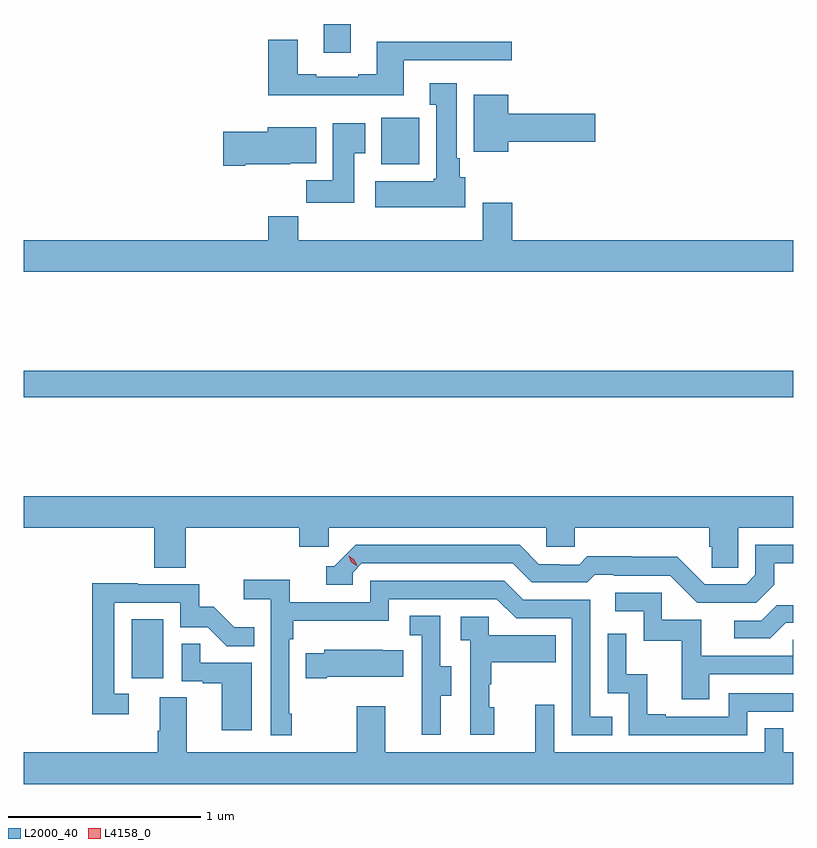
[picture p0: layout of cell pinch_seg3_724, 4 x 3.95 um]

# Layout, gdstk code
import gdstk
lib = gdstk.Library(unit=1e-6, precision=1e-09)
def R(c, l, rs):  # rectangles x0, y0, x1, y1
    for r in rs: c.add(gdstk.rectangle(r[:2], r[2:], *l))
def P(c, l, *ps):  # polygons
    for p in ps: c.add(gdstk.Polygon(p, *l))
L2000_40 = (2000, 40)
L4158_0 = (4158, 0)

pinch_seg3_724 = lib.new_cell('pinch_seg3_724')
R(pinch_seg3_724, L2000_40, [(875.054,734.766,875.218,735.073), (874.494,736.228,878.494,736.364), (876.353,737.438,876.55,737.68), (876.053,738.018,876.193,738.168)])
P(pinch_seg3_724, L2000_40, [(876.469,737.979),(877.03,737.979),(877.03,738.076),(876.329,738.076),(876.329,737.908),(876.233,737.908),(876.233,737.895),(876.013,737.895),(876.013,737.908),(875.917,737.908),(875.917,738.085),(875.765,738.085),(875.765,737.798),(876.469,737.798)],
  [(876.79,737.37),(876.76,737.37),(876.76,737.47),(876.745,737.47),(876.745,737.86),(876.605,737.86),(876.605,737.747),(876.638,737.747),(876.638,737.364),(876.625,737.364),(876.625,737.35),(876.321,737.35),(876.321,737.216),(876.79,737.216)],
  [(877.012,737.555),(877.465,737.555),(877.465,737.702),(877.012,737.702),(877.012,737.8),(876.833,737.8),(876.833,737.504),(877.012,737.504)],
  [(876.211,737.497),(876.268,737.497),(876.268,737.653),(876.101,737.653),(876.101,737.356),(875.962,737.356),(875.962,737.238),(876.211,737.238)],
  [(875.644,737.438),(875.88,737.438),(875.88,737.444),(876.013,737.444),(876.013,737.632),(875.762,737.632),(875.762,737.609),(875.532,737.609),(875.532,737.431),(875.644,737.431)],
  [(878.494,737.044),(877.034,737.044),(877.034,737.239),(876.881,737.239),(876.881,737.044),(875.921,737.044),(875.921,737.168),(875.765,737.168),(875.765,737.044),(874.494,737.044),(874.494,736.88),(878.494,736.88)],
  [(875.336,735.548),(875.927,735.548),(875.927,735.45),(876.078,735.45),(876.078,735.548),(877.209,735.548),(877.209,735.45),(877.359,735.45),(877.359,735.548),(878.057,735.548),(878.057,735.45),(878.071,735.45),(878.071,735.34),(878.208,735.34),(878.208,735.548),(878.494,735.548),(878.494,735.712),(874.494,735.712),(874.494,735.548),(875.171,735.548),(875.171,735.34),(875.336,735.34)],
  [(878.395,735.253),(878.395,735.363),(878.494,735.363),(878.494,735.459),(878.298,735.459),(878.298,735.303),(878.25,735.255),(878.034,735.255),(877.892,735.397),(877.656,735.397),(877.656,735.4),(877.423,735.4),(877.381,735.357),(877.278,735.357),(877.278,735.36),(877.171,735.36),(877.072,735.459),(876.219,735.459),(876.108,735.348),(876.065,735.348),(876.065,735.252),(876.204,735.252),(876.204,735.315),(876.252,735.363),(877.035,735.363),(877.134,735.264),(877.423,735.264),(877.462,735.303),(877.561,735.303),(877.561,735.3),(877.854,735.3),(877.995,735.159),(878.301,735.159)],
  [(875.887,734.581),(875.874,734.581),(875.874,734.969),(875.894,734.969),(875.894,735.065),(876.39,735.065),(876.39,735.177),(876.954,735.177),(877.053,735.078),(877.344,735.078),(877.344,734.469),(877.553,734.469),(877.553,734.565),(877.44,734.565),(877.44,735.174),(877.09,735.174),(876.991,735.273),(876.294,735.273),(876.294,735.162),(875.876,735.162),(875.876,735.278),(875.637,735.278),(875.637,735.176),(875.778,735.176),(875.778,734.469),(875.887,734.469)],
  [(875.038,734.685),(874.965,734.685),(874.965,735.159),(875.307,735.159),(875.307,735.03),(875.451,735.03),(875.549,734.932),(875.693,734.932),(875.693,735.031),(875.589,735.031),(875.482,735.138),(875.406,735.138),(875.406,735.255),(875.087,735.255),(875.087,735.26),(874.849,735.26),(874.849,734.58),(875.038,734.58)],
  [(878.059,734.787),(878.494,734.787),(878.494,734.967),(878.491,734.967),(878.491,734.883),(878.017,734.883),(878.017,735.069),(877.812,735.069),(877.812,735.21),(877.569,735.21),(877.569,735.114),(877.716,735.114),(877.716,734.961),(877.915,734.961),(877.915,734.658),(878.059,734.658)],
  [(878.455,735.054),(878.494,735.054),(878.494,735.146),(878.408,735.146),(878.328,735.066),(878.187,735.066),(878.187,734.973),(878.374,734.973)],
  [(876.661,734.674),(876.715,734.674),(876.715,734.829),(876.66,734.829),(876.66,735.092),(876.501,735.092),(876.501,734.989),(876.564,734.989),(876.564,734.685),(876.563,734.685),(876.563,734.472),(876.661,734.472)],
  [(876.94,734.616),(876.915,734.616),(876.915,734.735),(876.925,734.735),(876.925,734.849),(877.259,734.849),(877.259,734.989),(876.912,734.989),(876.912,735.087),(876.765,735.087),(876.765,734.963),(876.816,734.963),(876.816,734.472),(876.94,734.472)],
  [(878.256,734.592),(878.494,734.592),(878.494,734.688),(878.16,734.688),(878.16,734.565),(877.831,734.565),(877.831,734.578),(877.736,734.578),(877.736,734.786),(877.626,734.786),(877.626,734.998),(877.53,734.998),(877.53,734.688),(877.638,734.688),(877.638,734.469),(878.256,734.469)],
  [(875.68,734.847),(875.411,734.847),(875.411,734.945),(875.316,734.945),(875.316,734.751),(875.423,734.751),(875.423,734.739),(875.522,734.739),(875.522,734.496),(875.68,734.496)],
  [(876.07,734.774),(876.467,734.774),(876.467,734.911),(876.359,734.911),(876.359,734.914),(876.057,734.914),(876.057,734.896),(875.959,734.896),(875.959,734.767),(876.07,734.767)],
  [(878.494,734.38),(878.442,734.38),(878.442,734.507),(878.346,734.507),(878.346,734.38),(877.251,734.38),(877.251,734.629),(877.154,734.629),(877.154,734.38),(876.373,734.38),(876.373,734.62),(876.226,734.62),(876.226,734.38),(875.341,734.38),(875.341,734.666),(875.201,734.666),(875.201,734.492),(875.189,734.492),(875.189,734.38),(874.494,734.38),(874.494,734.216),(878.494,734.216)])
P(pinch_seg3_724, L4158_0, [(876.227,735.349),(876.197,735.369),(876.182,735.402),(876.182,735.402),(876.182,735.402),(876.212,735.382),(876.228,735.349),(876.228,735.349)])

lib.write_gds('pinch_seg3_724.gds')
